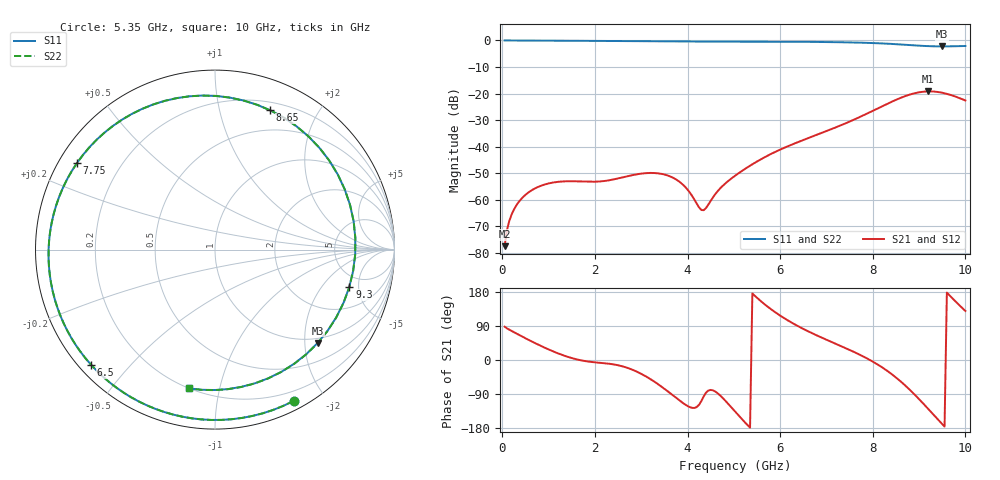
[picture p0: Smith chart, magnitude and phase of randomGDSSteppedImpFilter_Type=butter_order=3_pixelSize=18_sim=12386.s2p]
! freq	dB(S11)	phase(S11)	dB(S12)	phase(S12)
!  dB(S21)	phase(S21)	dB(S22)	phase(S22)
!S-par simulation data
#  GHz  S  DB  R 50
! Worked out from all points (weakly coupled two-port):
!   200 points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, 50 MHz to 10 GHz, reference 50 ohm
!   highest |S21| = -19.17 dB at 9.2 GHz (marker M1); lowest = -77.4 dB at 50 MHz (marker M2)
!   lowest |S11| = -2.2 dB at 9.5 GHz (marker M3), VSWR 7.82, Z = 44.3 - j115 ohm
!   |S11| at or under -10 dB: nowhere
!   |S22| runs from -2.2 to 0.0 dB; largest |S21 - S12| = 0
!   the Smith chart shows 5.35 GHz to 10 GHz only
!   S11 on the Smith chart (normalised r, x): 5.35 GHz: 0.09, -1.64; 6.5 GHz: 0.03, -0.39; 7.75 GHz: 0.05, +0.29; 8.65 GHz: 0.28, +1.44; 9.3 GHz: 3.73, -3.90; 10 GHz: 0.20, -0.81
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0.05  -0.00 -3.4  -77.44 88.0  -77.44 88.0  -0.00 -3.4
0.2  -0.02 -13.3  -65.56 76.7  -65.56 76.7  -0.02 -13.3
0.5  -0.04 -33.1  -58.11 57.4  -58.11 57.4  -0.04 -33.1
1.15  -0.10 -75.2  -53.34 20.1  -53.34 20.1  -0.10 -75.3
1.75  -0.14 -113.6  -53.13 -2.0  -53.13 -2.0  -0.14 -113.6
2.65  -0.22 -174.2  -51.32 -18.6  -51.32 -18.6  -0.22 -174.3
3.4  -0.32 125.1  -50.11 -67.0  -50.11 -67.0  -0.32 125.0
3.85  -0.39 81.6  -53.53 -108.9  -53.53 -108.9  -0.39 81.5
4.35  -0.44 29.5  -63.89 -95.9  -63.89 -95.9  -0.44 29.4
4.7  -0.45 -5.9  -55.77 -93.1  -55.77 -93.1  -0.45 -6.0
5.05  -0.44 -38.0  -50.62 -139.4  -50.62 -139.4  -0.44 -38.1
5.35  -0.44 -62.5  -47.14 -178.5  -47.14 -178.5  -0.44 -62.5
5.85  -0.46 -97.8  -42.32 129.7  -42.32 129.7  -0.46 -97.8
6.5  -0.51 -137.0  -37.47 82.0  -37.47 82.0  -0.51 -137.0
6.7  -0.54 -148.4  -36.13 70.1  -36.13 70.1  -0.54 -148.4
7.75  -0.84 148.0  -28.58 12.1  -28.58 12.1  -0.84 147.9
8.35  -1.25 99.5  -23.54 -32.0  -23.54 -32.0  -1.25 99.2
8.65  -1.57 68.4  -21.28 -61.7  -21.28 -61.7  -1.57 67.9
9.2  -2.14 -1.8  -19.17 -129.5  -19.17 -129.5  -2.14 -2.4
9.3  -2.20 -15.5  -19.21 -142.8  -19.21 -142.8  -2.19 -16.0
9.5  -2.24 -42.3  -19.69 -169.3  -19.69 -169.3  -2.23 -42.8
10  -2.09 -100.4  -22.60 129.3  -22.60 129.3  -2.08 -100.6
